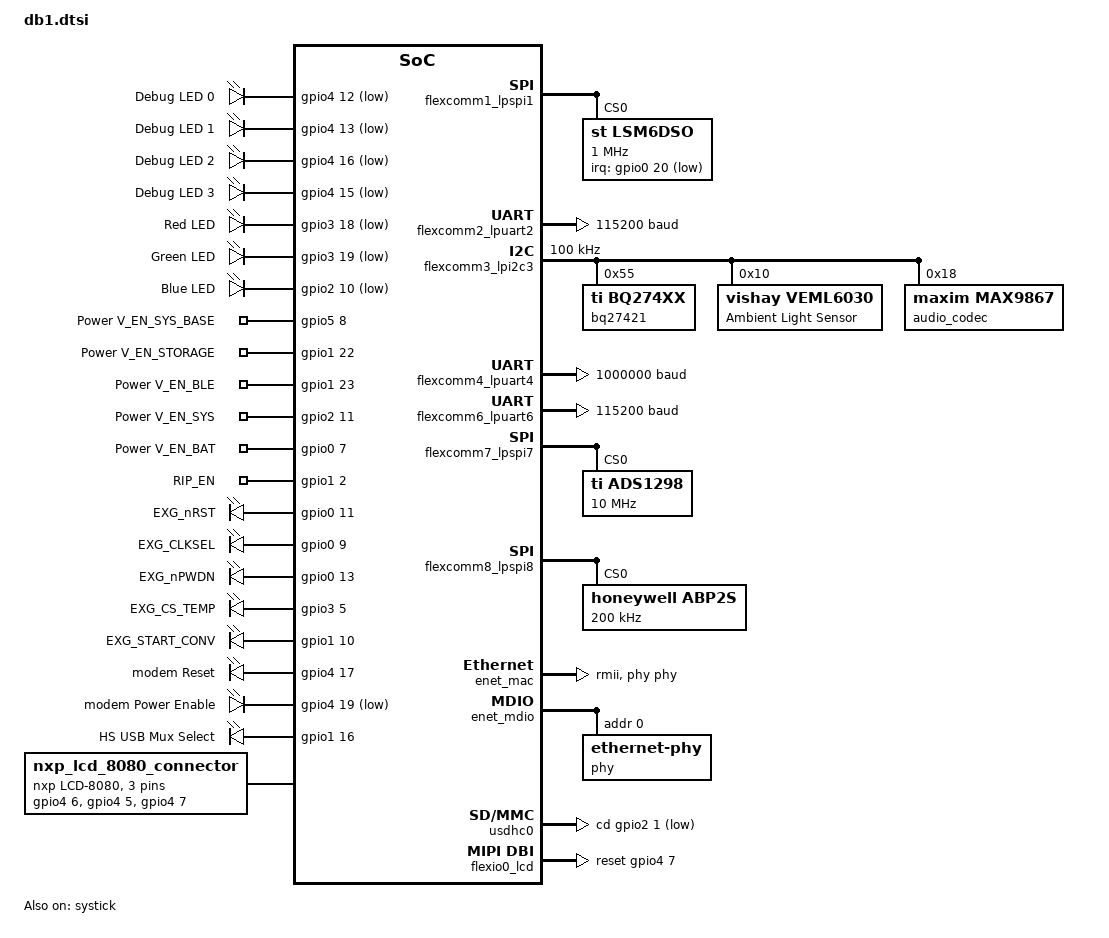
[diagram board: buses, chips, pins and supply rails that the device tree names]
#include "db1-pinctrl.dtsi"
#include <zephyr/dt-bindings/i2c/i2c.h>
#include <zephyr/dt-bindings/input/input-event-codes.h>

/ {
	aliases{
		led0 = &debug_led_0;
		led1 = &debug_led_1;
		led2 = &debug_led_2;
		led3 = &debug_led_3;

		user-red = &red_led;
		user-green = &green_led;
		user-blue = &blue_led;
		power-ven-sys-base = &power_ven_sys_base;
		power-ven-storage = &power_ven_storage;
		power-ven-ble = &power_ven_ble;
		power-ven-sys = &power_ven_sys;
		power-ven-bat = &power_ven_bat;

		rip-en = &rip_en;
		exg-nrst = &exg_nrst;
		exg-clksel = &exg_clksel;
		exg-npwdn = &exg_npwdn;
//		exg-cs-temp = &exg_cs_temp;
		exg-cs-temp = &debug_led_3;
		exg-start-conv = &exg_start_conv;

		modem-uart = &flexcomm6_lpuart6;
		modem-reset = &modem_reset;
		modem-on = &modem_on;

		hs-usb-sel = &hs_usb_sel;

		i2s-codec-tx = &sai1;

		sw0 = &user_button_2;
		sw1 = &user_button_3;
		sdhc0 = &usdhc0;
		mcuboot-button0 = &user_button_2;
	};

	leds {
		compatible = "gpio-leds";
		debug_led_0: dbg_0 {
			gpios = <&gpio4 12 GPIO_ACTIVE_LOW>;
			label = "Debug LED 0";
		};
		debug_led_1: dbg_1 {
			gpios = <&gpio4 13 GPIO_ACTIVE_LOW>;
			label = "Debug LED 1";
		};
		debug_led_2: dbg_2 {
			gpios = <&gpio4 16 GPIO_ACTIVE_LOW>;
			label = "Debug LED 2";
		};
		debug_led_3: dbg_3 {
			gpios = <&gpio4 15 GPIO_ACTIVE_LOW>;
			label = "Debug LED 3";
		};

		red_led: red {
			gpios = <&gpio3 18 GPIO_ACTIVE_LOW>;
			label = "Red LED";
		};
		green_led: green {
			gpios = <&gpio3 19 GPIO_ACTIVE_LOW>;
			label = "Green LED";
		};
		blue_led: blue {
			gpios = <&gpio2 10 GPIO_ACTIVE_LOW>;
			label = "Blue LED";
		};

		power_ven_sys_base: power_ven_sys_base {
			gpios = <&gpio5 8 GPIO_ACTIVE_HIGH>;
			label = "Power V_EN_SYS_BASE";
		};
		power_ven_storage: power_ven_storage {
			gpios = <&gpio1 22 GPIO_ACTIVE_HIGH>;
			label = "Power V_EN_STORAGE";
		};
		power_ven_ble: power_ven_ble {
			gpios = <&gpio1 23 GPIO_ACTIVE_HIGH>;
			label = "Power V_EN_BLE";
		};
		power_ven_sys: power_ven_sys {
			gpios = <&gpio2 11 GPIO_ACTIVE_HIGH>;
			label = "Power V_EN_SYS";
		};
		power_ven_bat: power_ven_bat {
			gpios = <&gpio0 7 GPIO_ACTIVE_HIGH>;
			label = "Power V_EN_BAT";
		};
		rip_en: rip_en {
			gpios = <&gpio1 2 GPIO_ACTIVE_HIGH>;
			label = "RIP_EN";
		};
		exg_nrst: exg_nrst {
			gpios = <&gpio0 11 GPIO_ACTIVE_HIGH>;
			label = "EXG_nRST";
		};
		exg_clksel: exg_clksel {
			gpios = <&gpio0 9 GPIO_ACTIVE_HIGH>;
			label = "EXG_CLKSEL";
		};
		exg_npwdn: exg_npwdn {
			gpios = <&gpio0 13 GPIO_ACTIVE_HIGH>;
			label = "EXG_nPWDN";
		};
		exg_cs_temp: exg_cs_temp { /* This shouold be passed to driver via device tree */
			gpios = <&gpio3 5 GPIO_ACTIVE_HIGH>;
			label = "EXG_CS_TEMP";
		};
		exg_start_conv: exg_start_conv {
			gpios = <&gpio1 10 GPIO_ACTIVE_HIGH>;
			label = "EXG_START_CONV";
		};
		modem_reset: modem_reset { /* Assert to reset */
			gpios = <&gpio4 17 GPIO_ACTIVE_HIGH>;
			label = "modem Reset";
		};
		modem_on: modem_on { /* Assert to power on */
			gpios = <&gpio4 19 GPIO_ACTIVE_LOW>;
			label = "modem Power Enable";
		};
        hs_usb_sel: hs_usb_sel {
			gpios = <&gpio1 16 GPIO_ACTIVE_HIGH>;
			label = "HS USB Mux Select";
		};
	};

	gpio_keys {
		compatible = "gpio-keys";
		user_button_2: button_0 {
			label = "User SW2";
			gpios = <&gpio0 23 (GPIO_ACTIVE_LOW | GPIO_PULL_UP)>;
			zephyr,code = <INPUT_KEY_0>;
			status = "disabled";
		};
		user_button_3: button_1 {
			label = "User SW3";
			gpios = <&gpio0 6 (GPIO_ACTIVE_LOW | GPIO_PULL_UP)>;
			zephyr,code = <INPUT_KEY_1>;
			status = "disabled";
		};
	};

	/*
	 * This node describes the GPIO pins of the LCD-PAR-S035 panel 8080 interface.
	 */
	nxp_lcd_8080_connector: lcd-8080-connector {
		compatible = "nxp,lcd-8080";
		#gpio-cells = <2>;
		gpio-map-mask = <0xffffffff 0xffffffc0>;
		gpio-map-pass-thru = <0 0x3f>;
		gpio-map =	<9  0 &gpio4 6 0>,	/* Pin 9, LCD touch INT */
				<10  0 &gpio4 5 0>,	/* Pin 10, LCD backlight control */
				<11  0 &gpio4 7 0>;	/* Pin 11, LCD and touch reset */
	};
};

&flexcomm1_lpspi1 {
	pinctrl-0 = <&pinmux_flexcomm1_lpspi>;
	pinctrl-names = "default";
	status = "okay";
	lsm6dso: lsm6dso@0 {
		compatible = "st,lsm6dso";
		status = "okay";
		reg = <0x0>;
		irq-gpios = <&gpio0 20 GPIO_ACTIVE_LOW>;
		spi-max-frequency = <1000000>; /* Can go higher */
		accel-pm = <0>; /* Normal mode */
		accel-range = <0>; /* 2g */
		accel-odr = <1>; /* 12.5Hz */
	};
};


&flexcomm2_lpuart2 {
	current-speed = <115200>;
	pinctrl-0 = <&pinmux_flexcomm2_lpuart>;
	pinctrl-names = "default";
};

&flexcomm3_lpi2c3 {
	pinctrl-0 = <&pinmux_flexcomm3_lpi2c>;
	pinctrl-names = "default";
	clock-frequency = <I2C_BITRATE_STANDARD>;
	
	bq27421@55 {
		compatible = "ti,bq274xx";
		reg = <0x55>;
		design-voltage = <3700>;
		design-capacity = <1800>;
		taper-current = <45>;
		terminate-voltage = <3000>;
	};
	veml6030@10 {
		compatible = "vishay,veml6030";
		reg = <0x10>;
		status = "okay";
		label = "Ambient Light Sensor";
		/*int-gpios = <&gpio1 15 (GPIO_PULL_UP | GPIO_ACTIVE_LOW)>;*/
	};
	audio_codec: max9867@18{
		compatible = "maxim,max9867";
		reg = <0x18>;
		mclk-rate = <12288000>; /* Ideally this would come via syscon but that seems to be broken */
	};
};

/* Debug Uart*/
&flexcomm4_lpuart4 {
	current-speed = <1000000>;
	pinctrl-0 = <&pinmux_flexcomm4_lpuart>;
	pinctrl-names = "default";
};

&flexcomm6_lpuart6 {
	current-speed = <115200>;
	hw-flow-control;
	pinctrl-0 = <&pinmux_flexcomm6_lpuart>;
	pinctrl-names = "default";
	/*
	modem: modem {
		   compatible = "u-blox,lara-r6";
		   mdm-power-gpios = <&gpio4 19 GPIO_ACTIVE_LOW>;
		   mdm-reset-gpios = <&gpio4 17 GPIO_ACTIVE_LOW>;
		   status = "okay";
		};
	*/
};

&flexcomm7_lpspi7 {
	pinctrl-0 = <&pinmux_flexcomm7_lpspi>;
	pinctrl-names = "default";
	status = "okay";
	/* CS must remain low for the entire duration of the serial communication. */
	/* After the serial communication is finished, always wait four or more tCLK periods before taking CS high.*/
	/* That is 4*514e-9 = 2.056us*/
	pcs-sck-delay = <2500>; //Delay in nanoseconds from the chip select assert to the first clock

	/* The chip select must be deasserted at least 4 tCLK periods after the last clock edge. */
	/* That is 4*514e-9 = 2.056us */
	sck-pcs-delay = <2500>; //Delay in nanoseconds from the last clock edge to the chip select

	/* Gap between last clock of each word must be more than tsdecode 9.5.2.9 */
	/* if CLK is 2.048 MHz, then tSDECODE (4 × tCLK) is 2.056 µs. */
	transfer-delay = <2500>; //Delay in nanoseconds between last SCK edge of a transfer word and the first SCK edge of the next transfer word.
ads1298: ads1298@0 {
	compatible = "ti,ads1298";
	status = "okay";
	reg = <0x0>;
	spi-max-frequency = <10000000>; /* Can go higher */
//	spi-min-frequency = <500000>; /* Can go higher */
};

};

//&flexcomm7_lpi2c7 {
//	pinctrl-0 = <&pinmux_flexcomm7_lpi2c>;
//	pinctrl-names = "default";
//	clock-frequency = <I2C_BITRATE_STANDARD>;
//};


&flexcomm8_lpspi8 {
	pinctrl-0 = <&pinmux_flexcomm8_lpspi>;
	pinctrl-names = "default";
	status = "okay";
	pcs-sck-delay = <2800>; //Delay in nanoseconds from the chip select assert to the first clock (DS=2.5us)
	sck-pcs-delay = <150>; //Delay in nanoseconds from the last clock edge to the chip select (DS=100ns)
//	transfer-delay = <2500>; //Delay in nanoseconds between last SCK edge of a transfer word and the first SCK edge of the next transfer word.

	abp2s: abp2s@0 {
		compatible = "honeywell,abp2s";
		status = "okay";
		reg = <0x0>;
		spi-max-frequency = <200000>; /* Can go higher */
		min-pressure-millipsi = <0>;
		max-pressure-millipsi = <1000>;
	};

};


/* SmartDMA is used for video driver on this board */
&smartdma {
	status = "okay";
	program-mem = <0x4000000>;
//	video_sdma: video-sdma {
//		status = "okay";
//		compatible = "nxp,video-smartdma";
//		pinctrl-0 = <&pinmux_smartdma_camera>;
//		pinctrl-names = "default";
////		sensor = <&ov7670>;
//		vsync-pin = <4>;
//		hsync-pin = <11>;
//		pclk-pin = <5>;
//	};
};

/*
 * MCXN947 board uses OS timer as the kernel timer
 * In case we need to switch to SYSTICK timer, then
 * replace &os_timer with &systick
 */
&os_timer {
	status = "disabled";
};

&systick {
	status = "okay";
};

&sram {
	sramg: memory@20050000 {
		compatible = "mmio-sram";
		reg = <0x20050000 DT_SIZE_K(64)>;
	};
	sramh: memory@20060000 {
		compatible = "mmio-sram";
		reg = <0x20060000 DT_SIZE_K(32)>;
	};
};

&flash {
	partitions {
		compatible = "fixed-partitions";
		#address-cells = <1>;
		#size-cells = <1>;

		/*
		 * Partition sizes must be aligned
		 * to the flash memory sector size of 8KB.
		 */
		boot_partition: partition@0 {
			label = "mcuboot";
			reg = <0x00000000 DT_SIZE_K(80)>;
		};
		/* For the MCUBoot "upgrade only" method,
		 * the slot sizes must be equal.
		 */
		slot0_partition: partition@14000 {
			label = "image-0";
			reg = <0x00014000 DT_SIZE_K(984)>;
		};
		slot1_partition: partition@10A000 {
			label = "image-1";
			reg = <0x0010A000 DT_SIZE_K(984)>;
		};
		/* storage_partition is placed in WINBOND flash memory*/
	};
};

&flexspi {
	pinctrl-0 = <&pinmux_flexspi>;
	pinctrl-names = "default";
	ahb-prefetch;
	ahb-bufferable;
	ahb-cacheable;
	ahb-read-addr-opt;
	combination-mode;
	rx-clock-source = <1>;

	/* WINBOND flash memory*/
	w25q64jvssiq: w25q64jvssiq@0 {
		compatible = "nxp,imx-flexspi-nor";
		status = "disabled";
		size = <67108864>;
		reg = <0>;
		spi-max-frequency = <133000000>;
		jedec-id = [ef 40 17];
		erase-block-size = <4096>;
		write-block-size = <1>;
		cs-interval-unit = <1>;
		cs-interval = <2>;
		cs-hold-time = <3>;
		cs-setup-time = <3>;
		data-valid-time = <2>;
		column-space = <0>;
	};
};

&dac0 {
	pinctrl-0 = <&pinmux_dac0>;
	pinctrl-names = "default";
};

//&sai1 {
//	pinctrl-0 = <&pinmux_sai1>;
//	pinctrl-names = "default";
//};

&sai0 {
	pinctrl-0 = <&pinmux_sai0>;
	pinctrl-names = "default";
};

&enet {
	pinctrl-0 = <&pinmux_enet_qos>;
	pinctrl-names = "default";
};

&enet_mac {
	phy-connection-type = "rmii";
	zephyr,random-mac-address;
	phy-handle = <&phy>;
};

&enet_mdio {
	phy: ethernet-phy@0 {
		compatible = "ethernet-phy";
		reg = <0>;
		status = "okay";
	};
};

&flexpwm1_pwm0 {
	pinctrl-0 = <&pinmux_flexpwm1_pwm0>;
	pinctrl-names = "default";
};

&usdhc0 {
	pinctrl-0 = <&pinmux_usdhc0>;
	pinctrl-1 = <&pinmux_usdhc0>;
	pinctrl-2 = <&pinmux_usdhc0>;
	cd-gpios = <&gpio2 1 GPIO_ACTIVE_LOW>;
	pinctrl-names = "default", "slow", "med";
	no-1-8-v;
};

&lpadc0 {
	pinctrl-0 = <&pinmux_lpadc0>;
	pinctrl-names = "default";
};

zephyr_mipi_dbi_parallel: &flexio0_lcd {
	/* DMA channels 0, muxed to FlexIO TX */
	dmas = <&edma0 0 61>;
	dma-names = "tx";
	shifters-count = <8>;
	timers-count = <1>;
	enwr-pin = <1>;
	rd-pin = <0>;
	data-pin-start = <16>;
	reset-gpios = <&gpio4 7 GPIO_ACTIVE_HIGH>;
	cs-gpios = <&gpio0 12 GPIO_ACTIVE_HIGH>;
	rs-gpios = <&gpio0 7 GPIO_ACTIVE_HIGH>;
	pinctrl-0 = <&pinmux_flexio_lcd>;
	pinctrl-names = "default";
};

&lpcmp0 {
	pinctrl-0 = <&pinmux_lpcmp0>;
	pinctrl-names = "default";
};

&i3c1 {
	pinctrl-0 = <&pinmux_i3c1>;
	pinctrl-names = "default";
};

&flexcan0 {
	pinctrl-0 = <&pinmux_flexcan0>;
	pinctrl-names = "default";
};

&sc_timer {
	pinctrl-0 = <&pinmux_sctimer>;
	pinctrl-names = "default";
};
